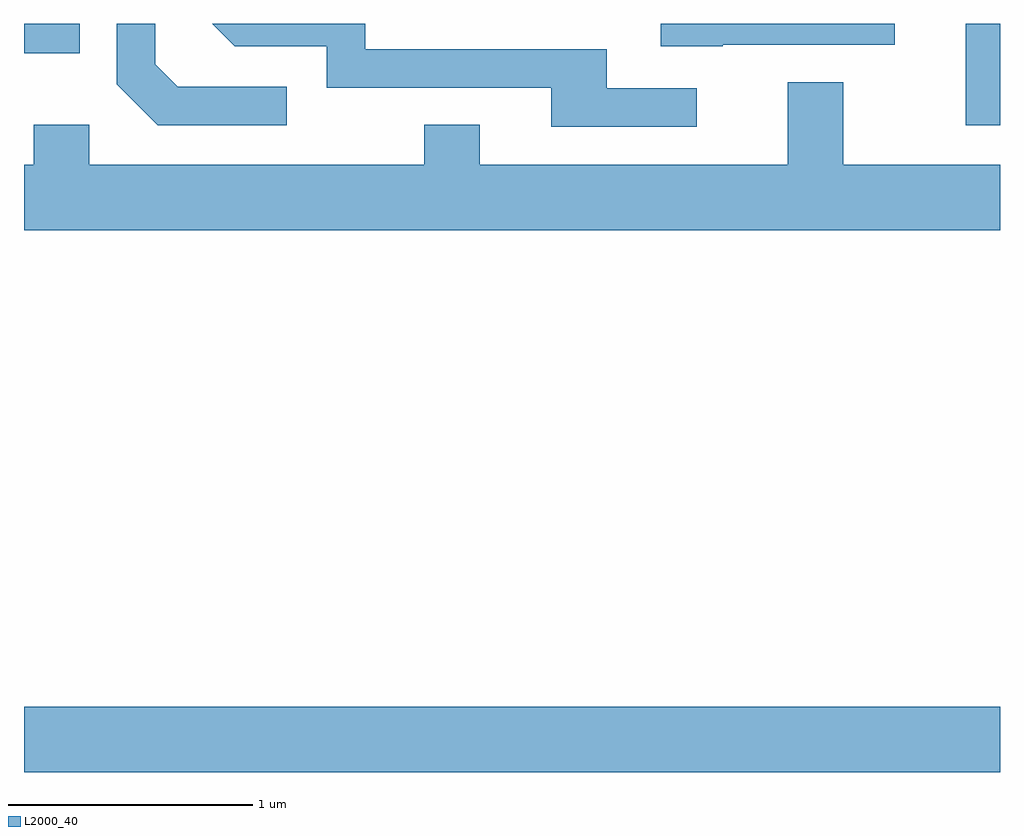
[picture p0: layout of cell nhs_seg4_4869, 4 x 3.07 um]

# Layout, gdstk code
import gdstk
lib = gdstk.Library(unit=1e-6, precision=1e-09)
def R(c, l, rs):  # rectangles x0, y0, x1, y1
    for r in rs: c.add(gdstk.rectangle(r[:2], r[2:], *l))
def P(c, l, *ps):  # polygons
    for p in ps: c.add(gdstk.Polygon(p, *l))
L2000_40 = (2000, 40)

nhs_seg4_4869 = lib.new_cell('nhs_seg4_4869')
R(nhs_seg4_4869, L2000_40, [(327.611,1336.916,331.611,1337.184), (331.471,1339.566,331.611,1339.982), (327.611,1339.861,327.839,1339.982)])
P(nhs_seg4_4869, L2000_40, [(330.475,1339.896),(331.179,1339.896),(331.179,1339.982),(330.221,1339.982),(330.221,1339.891),(330.475,1339.891)],
  [(330.368,1339.719),(329.999,1339.719),(329.999,1339.879),(329.009,1339.879),(329.009,1339.982),(328.383,1339.982),(328.474,1339.891),(328.851,1339.891),(328.851,1339.721),(329.771,1339.721),(329.771,1339.561),(330.368,1339.561)],
  [(328.688,1339.724),(328.242,1339.724),(328.149,1339.817),(328.149,1339.982),(327.991,1339.982),(327.991,1339.734),(328.159,1339.566),(328.688,1339.566)],
  [(331.611,1339.404),(330.969,1339.404),(330.969,1339.744),(330.741,1339.744),(330.741,1339.404),(329.479,1339.404),(329.479,1339.569),(329.251,1339.569),(329.251,1339.404),(327.879,1339.404),(327.879,1339.569),(327.651,1339.569),(327.651,1339.404),(327.611,1339.404),(327.611,1339.136),(331.611,1339.136)])

lib.write_gds('nhs_seg4_4869.gds')
